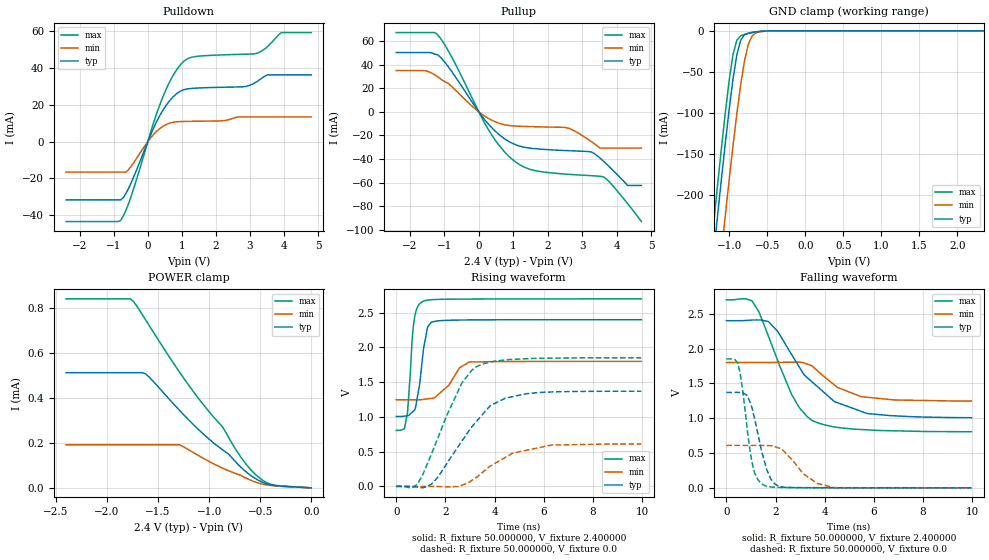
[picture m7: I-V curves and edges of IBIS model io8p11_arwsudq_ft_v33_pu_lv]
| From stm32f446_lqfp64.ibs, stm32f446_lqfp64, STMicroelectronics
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|   Model io8p11_arwsudq_ft_v33_pu_lv
[Model]  io8p11_arwsudq_ft_v33_pu_lv
Model_type I/O
Polarity   Non-Inverting
Enable   Active-Low
Vinl =   0.720000V
Vinh =   1.680000V
Vmeas =  1.200000V
Cref =   30.000000pF
Rref =   100.000000M
Vref =   0.0V
C_comp   2.828400pF   2.771400pF   2.910300pF
[Temperature Range]   25.000000   0.125000k   -40.000000
[Pullup Reference]   2.400000V   1.800000V   2.700000V
[Pulldown Reference]   0.0V   0.0V   0.0V
[POWER Clamp Reference]   2.400000V   1.800000V   2.700000V
[GND Clamp Reference]   0.0V   0.0V   0.0V
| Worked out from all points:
|   slope of the pulldown table from 0 to 0.36 V, typ, clamps not added: 25 ohm
|   slope of the pullup table from 0 to 0.36 V, typ, clamps not added: 27.7 ohm
|   GND clamp passes 1 mA (typ) near -0.62 V on its own axis
|   rising waveform, R_fixture 50.000000, V_fixture 2.400000: 20-80 % time 324ps typ, 721ps min, 218ps max; typ from 1.01 V to 2.4 V
|   rising waveform, R_fixture 50.000000, V_fixture 0.0: 20-80 % time 1.7ns typ, 1.63ns min, 1.34ns max; typ from 0.001 V to 1.37 V
|   falling waveform, R_fixture 50.000000, V_fixture 2.400000: 20-80 % time 1.94ns typ, 1.45ns min, 1.36ns max; typ from 2.4 V to 1.01 V
|   falling waveform, R_fixture 50.000000, V_fixture 0.0: 20-80 % time 554ps typ, 1.01ns min, 415ps max; typ from 1.37 V to 0.001 V
[Pulldown]
|Voltage   I(typ)   I(min)   I(max)
-2.4V     -31.66mA   -16.51mA   -43.42mA
-800mV    -31.66mA   -16.51mA   -42.86mA
-480mV    -21.98mA   -13.17mA   -29.21mA
80mV      3.63mA     1.966mA    5.014mA
480mV     18.16mA    8.738mA    26.02mA
800mV     25.38mA    10.72mA    37.77mA
1.12V     28.53mA    11.02mA    44.6mA
2.8V      29.84mA    13.46mA    47.53mA
3.2V      32.6mA     13.46mA    48.03mA
3.52V     36.33mA    13.46mA    51.75mA
3.92V     36.33mA    13.46mA    59.31mA
4.8V      36.33mA    13.46mA    59.31mA
[Pullup]
|Voltage   I(typ)   I(min)   I(max)
-2.4V     50.37mA    35.09mA    67.32mA
-1.52V    50.37mA    34.75mA    67.32mA
-1.2V     48.53mA    29.88mA    65.49mA
-800mV    34.76mA    21.92mA    47.2mA
320mV     -11.75mA   -6.207mA   -17.08mA
1.04V     -27.53mA   -11.97mA   -41.91mA
1.6V      -31.13mA   -12.57mA   -49.63mA
2.56V     -32.88mA   -13.48mA   -52.9mA
3.28V     -34.2mA    -25.51mA   -54.17mA
3.6V      -41.33mA   -30.74mA   -54.99mA
4.32V     -62.45mA   -30.74mA   -77.88mA
4.72V     -62.45mA   -30.74mA   -93.1mA
[GND_clamp]
|Voltage   I(typ)   I(min)   I(max)
-2.4V     -1.428A    -1.51A     -1.4A
-1.2V     -266.4mA   -356.3mA   -229.4mA
-1.15V    -221.3mA   -311mA     -184.1mA
-1.1V     -177.3mA   -266.4mA   -140mA
-1.05V    -134.8mA   -222.7mA   -97.97mA
-950mV    -58.22mA   -139.2mA   -28.55mA
-900mV    -29.03mA   -100.6mA   -11.27mA
-850mV    -11.41mA   -65.77mA   -6.067mA
-750mV    -2.852mA   -16.63mA   -3.179mA
-700mV    -1.914mA   -6.318mA   -2.181mA
-600mV    -750uA     -1.167mA   -738.3uA
2.35V     0A         0A         0A
[POWER_clamp]
|Voltage   I(typ)   I(min)   I(max)
-2.4V     511uA      191.4uA    838.7uA
-1.77V    511uA      191.4uA    838.7uA
-1.74V    511uA      191.4uA    826.9uA
-1.62V    505.2uA    191.4uA    744.6uA
-1.29V    344.1uA    191.4uA    514uA
-1.08V    248.7uA    137.3uA    383.1uA
-870mV    169.3uA    87.75uA    271.7uA
-720mV    105.7uA    60.5uA     157.1uA
-570mV    47.98uA    29.54uA    70.06uA
-480mV    25.17uA    16.94uA    35.08uA
-390mV    12.49uA    10.17uA    15.15uA
0V        0A         0A         0A
[Ramp]
| variable   typ   min   max
dV/dt_r  0.82171/1.70245n   0.36974/1.70203n   1.11107/1.34077n
dV/dt_f  0.83514/1.95163n   0.33174/1.45960n   1.13560/1.35735n
R_load = 50.000000
[Rising Waveform]
R_fixture= 50.000000
V_fixture= 2.400000
V_fixture_min= 1.800000
V_fixture_max= 2.700000
|time   V(typ)   V(min)   V(max)
0s        1.007V     1.247V     806mV
340.3ps   1.012V     1.247V     843mV
460.5ps   1.018V     1.247V     1.067V
700.7ps   1.085V     1.247V     2.318V
940.9ps   1.444V     1.247V     2.623V
1.061ns   1.82V      1.251V     2.659V
1.281ns   2.296V     1.261V     2.682V
1.542ns   2.374V     1.272V     2.69V
2.983ns   2.397V     1.793V     2.697V
9.97ns    2.4V       1.8V       2.7V
[Rising Waveform]
R_fixture= 50.000000
V_fixture= 0.0
V_fixture_min= 0.0
V_fixture_max= 0.0
|time   V(typ)   V(min)   V(max)
0s        957.2uV    874.7uV    1.138mV
620.6ps   -1.548mV   858.7uV    -20.43mV
860.9ps   -10.02mV   903.2uV    36.43mV
1.441ns   36.95mV    97.71uV    472.8mV
2.663ns   647.5mV    16.95mV    1.482V
3.283ns   943.8mV    134.3mV    1.727V
3.824ns   1.163V     291.9mV    1.79V
5.265ns   1.332V     518.4mV    1.838V
6.306ns   1.36V      595.2mV    1.846V
9.97ns    1.371V     610.3mV    1.852V
[Falling Waveform]
R_fixture= 50.000000
V_fixture= 2.400000
V_fixture_min= 1.800000
V_fixture_max= 2.700000
|time   V(typ)   V(min)   V(max)
0s        2.4V       1.8V       2.7V
1.041ns   2.409V     1.8V       2.685V
1.321ns   2.41V      1.8V       2.53V
1.722ns   2.384V     1.8V       2.169V
2.663ns   1.909V     1.805V     1.337V
3.163ns   1.622V     1.793V     1.073V
3.483ns   1.523V     1.751V     969mV
4.404ns   1.238V     1.474V     874.7mV
5.485ns   1.099V     1.309V     838mV
9.97ns    1.007V     1.247V     806mV
[Falling Waveform]
R_fixture= 50.000000
V_fixture= 0.0
V_fixture_min= 0.0
V_fixture_max= 0.0
|time   V(typ)   V(min)   V(max)
0s        1.371V     610.3mV    1.852V
460.5ps   1.371V     610.2mV    1.79V
660.7ps   1.367V     610.1mV    1.41V
860.9ps   1.324V     610mV      813mV
1.161ns   971.5mV    609.9mV    206mV
1.542ns   392.8mV    609.9mV    36.04mV
2.122ns   27.79mV    573.4mV    7.474mV
3.143ns   3.391mV    199.3mV    2.803mV
4.364ns   1.981mV    5.987mV    1.919mV
9.97ns    957.2uV    874.7uV    1.138mV
